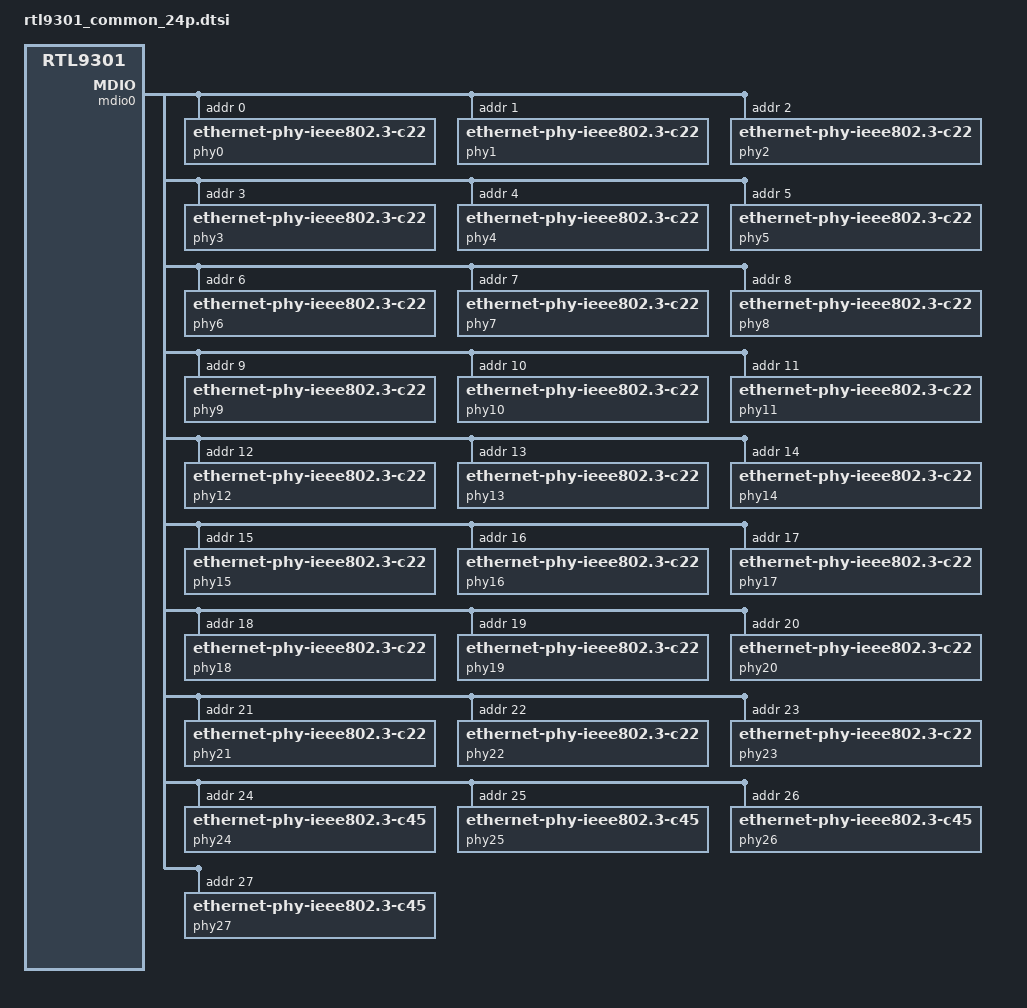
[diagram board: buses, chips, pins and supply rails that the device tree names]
// SPDX-License-Identifier: (GPL-2.0-or-later OR MIT)

&mdio0 {
	/* External 8 port 10/100/1000Mbit RTL8218D PHY (QSGMII) first half */
	phy0: ethernet-phy@0 {
		compatible = "ethernet-phy-ieee802.3-c22";
		reg = <0>;
		rtl9300,smi-address = <0 0>;
		sds = <0>;
		/* Disabled because we do not know how to bring up again */
		/* reset-gpios = <&gpio0  GPIO_ACTIVE_LOW>; */
	};

	phy1: ethernet-phy@1 {
		compatible = "ethernet-phy-ieee802.3-c22";
		reg = <1>;
		rtl9300,smi-address = <0 1>;
	};

	phy2: ethernet-phy@2 {
		compatible = "ethernet-phy-ieee802.3-c22";
		reg = <2>;
		rtl9300,smi-address = <0 2>;
	};

	phy3: ethernet-phy@3 {
		compatible = "ethernet-phy-ieee802.3-c22";
		reg = <3>;
		rtl9300,smi-address = <0 3>;
	};

	/* External 8 port 10/100/1000Mbit RTL8218D PHY (QSGMII) second half */
	phy4: ethernet-phy@4 {
		compatible = "ethernet-phy-ieee802.3-c22";
		reg = <4>;
		rtl9300,smi-address = <0 4>;
		sds = <1>;
	};

	phy5: ethernet-phy@5 {
		compatible = "ethernet-phy-ieee802.3-c22";
		reg = <5>;
		rtl9300,smi-address = <0 5>;
	};

	phy6: ethernet-phy@6 {
		compatible = "ethernet-phy-ieee802.3-c22";
		reg = <6>;
		rtl9300,smi-address = <0 6>;
	};

	phy7: ethernet-phy@7 {
		compatible = "ethernet-phy-ieee802.3-c22";
		reg = <7>;
		rtl9300,smi-address = <0 7>;
	};

	/* External 8 port 10/100/1000Mbit RTL8218D PHY (XGMII) */
	phy8: ethernet-phy@8 {
		compatible = "ethernet-phy-ieee802.3-c22";
		reg = <8>;
		rtl9300,smi-address = <1 8>;
		sds = <2>;
		/* Disabled because we do not know how to bring up again */
		/* reset-gpios = <&gpio0  GPIO_ACTIVE_LOW>; */
	};

	phy9: ethernet-phy@9 {
		compatible = "ethernet-phy-ieee802.3-c22";
		reg = <9>;
		rtl9300,smi-address = <1 9>;
	};

	phy10: ethernet-phy@10 {
		compatible = "ethernet-phy-ieee802.3-c22";
		reg = <10>;
		rtl9300,smi-address = <1 10>;
	};

	phy11: ethernet-phy@11 {
		compatible = "ethernet-phy-ieee802.3-c22";
		reg = <11>;
		rtl9300,smi-address = <1 11>;
	};

	phy12: ethernet-phy@12 {
		compatible = "ethernet-phy-ieee802.3-c22";
		reg = <12>;
		rtl9300,smi-address = <1 12>;
	};

	phy13: ethernet-phy@13 {
		compatible = "ethernet-phy-ieee802.3-c22";
		reg = <13>;
		rtl9300,smi-address = <1 13>;
	};

	phy14: ethernet-phy@14 {
		compatible = "ethernet-phy-ieee802.3-c22";
		reg = <14>;
		rtl9300,smi-address = <1 14>;
	};

	phy15: ethernet-phy@15 {
		compatible = "ethernet-phy-ieee802.3-c22";
		reg = <15>;
		rtl9300,smi-address = <1 15>;
	};

	/* External 8 port 10/100/1000Mbit RTL8218D PHY (XGMII) */
	phy16: ethernet-phy@16 {
		compatible = "ethernet-phy-ieee802.3-c22";
		reg = <16>;
		rtl9300,smi-address = <2 16>;
		sds = <3>;
		/* Disabled because we do not know how to bring up again */
		/* reset-gpios = <&gpio0  GPIO_ACTIVE_LOW>; */
	};

	phy17: ethernet-phy@17 {
		compatible = "ethernet-phy-ieee802.3-c22";
		reg = <17>;
		rtl9300,smi-address = <2 17>;
	};

	phy18: ethernet-phy@18 {
		compatible = "ethernet-phy-ieee802.3-c22";
		reg = <18>;
		rtl9300,smi-address = <2 18>;
	};

	phy19: ethernet-phy@19 {
		compatible = "ethernet-phy-ieee802.3-c22";
		reg = <19>;
		rtl9300,smi-address = <2 19>;
	};

	phy20: ethernet-phy@20 {
		compatible = "ethernet-phy-ieee802.3-c22";
		reg = <20>;
		rtl9300,smi-address = <2 20>;
	};

	phy21: ethernet-phy@21 {
		compatible = "ethernet-phy-ieee802.3-c22";
		reg = <21>;
		rtl9300,smi-address = <2 21>;
	};

	phy22: ethernet-phy@22 {
		compatible = "ethernet-phy-ieee802.3-c22";
		reg = <22>;
		rtl9300,smi-address = <2 22>;
	};

	phy23: ethernet-phy@23 {
		compatible = "ethernet-phy-ieee802.3-c22";
		reg = <23>;
		rtl9300,smi-address = <2 23>;
	};

	/* SFP+ Ports */
	phy24: ethernet-phy@24 {
		compatible = "ethernet-phy-ieee802.3-c45";
		reg = <24>;
		phy-is-integrated;
		sds = <4>;
	};

	phy25: ethernet-phy@25 {
		compatible = "ethernet-phy-ieee802.3-c45";
		reg = <25>;
		phy-is-integrated;
		sds = <6>;
	};

	phy26: ethernet-phy@26 {
		compatible = "ethernet-phy-ieee802.3-c45";
		reg = <26>;
		phy-is-integrated;
		sds = <8>;
	};

	phy27: ethernet-phy@27 {
		compatible = "ethernet-phy-ieee802.3-c45";
		reg = <27>;
		phy-is-integrated;
		sds = <9>;
	};
};
